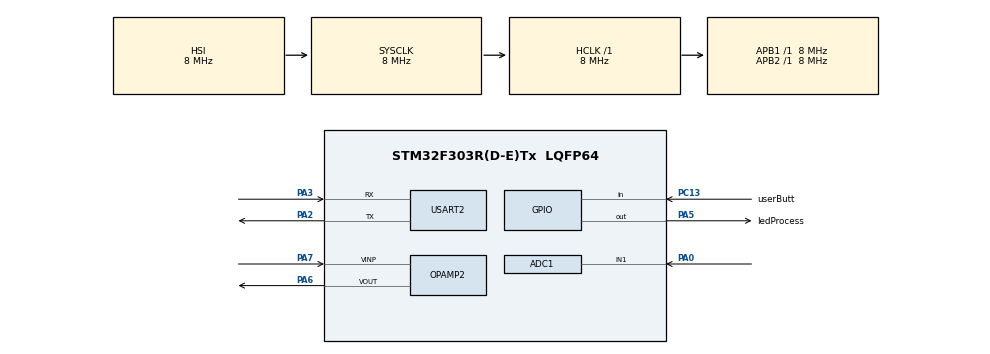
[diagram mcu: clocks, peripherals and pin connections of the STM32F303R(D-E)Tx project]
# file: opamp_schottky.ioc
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ADC1.Channel-2\#ChannelRegularConversion=ADC_CHANNEL_1
ADC1.ContinuousConvMode=ENABLE
ADC1.NbrOfConversionFlag=1
ADC1.Offset-2\#ChannelRegularConversion=0
ADC1.OffsetNumber-2\#ChannelRegularConversion=ADC_OFFSET_NONE
ADC1.Rank-2\#ChannelRegularConversion=1
ADC1.SamplingTime-2\#ChannelRegularConversion=ADC_SAMPLETIME_601CYCLES_5
ADC1.SamplingTimeOPAMP-2\#ChannelRegularConversion=ADC_SAMPLETIME_7CYCLES_5
ADC1.master=1
ADC2.Channel-0\#ChannelRegularConversion=ADC_CHANNEL_3
ADC2.ContinuousConvMode=ENABLE
ADC2.NbrOfConversionFlag=1
ADC2.Offset-0\#ChannelRegularConversion=0
ADC2.OffsetNumber-0\#ChannelRegularConversion=ADC_OFFSET_NONE
ADC2.Rank-0\#ChannelRegularConversion=1
ADC2.SamplingTime-0\#ChannelRegularConversion=ADC_SAMPLETIME_7CYCLES_5
Mcu.Family=STM32F3
Mcu.Name=STM32F303R(D-E)Tx
Mcu.Package=LQFP64
NVIC.PriorityGroup=NVIC_PRIORITYGROUP_4
PA0.Mode=IN1-Single-Ended
PA0.Signal=ADC1_IN1
PA13.Mode=Serial_Wire
PA13.Signal=SYS_JTMS-SWDIO
PA14.Mode=Serial_Wire
PA14.Signal=SYS_JTCK-SWCLK
PA2.Mode=Asynchronous
PA2.Signal=USART2_TX
PA3.Mode=Asynchronous
PA3.Signal=USART2_RX
PA5.GPIO_Label=ledProcess
PA5.Signal=GPIO_Output
PA6.Signal=SharedAnalog_PA6
PA7.Mode=PGA Not Connected
PA7.Signal=OPAMP2_VINP
PC13.GPIO_Label=userButt
PC13.Signal=GPIO_Input
ProjectManager.HeapSize=0x200
ProjectManager.StackSize=0x400
ProjectManager.TargetToolchain=STM32CubeIDE
RCC.AHBFreq_Value=8000000
RCC.APB1Freq_Value=8000000
RCC.APB2Freq_Value=8000000
RCC.CortexFreq_Value=8000000
RCC.HSE_VALUE=8000000
RCC.HSI_VALUE=8000000
RCC.LSE_VALUE=32768
RCC.SYSCLKFreq_VALUE=8000000
RCC.USBFreq_Value=16000000
SH.SharedAnalog_PA6.0=ADC2_IN3
SH.SharedAnalog_PA6.1=OPAMP2_VOUT,PGA Not Connected
USART2.VirtualMode-Asynchronous=VM_ASYNC
VP_ADC2_OPAMP_OUT2.Mode=IN3-OPAMP2-Single-Ended
board=custom

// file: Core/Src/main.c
/* USER CODE BEGIN Header */
/**
  ******************************************************************************
  * @file           : main.c
  * @brief          : Main program body
  ******************************************************************************
  * @attention
  *
  * Copyright (c) 2022 STMicroelectronics.
  * All rights reserved.
  *
  * This software is licensed under terms that can be found in the LICENSE file
  * in the root directory of this software component.
  * If no LICENSE file comes with this software, it is provided AS-IS.
  *
  ******************************************************************************
  */
/* USER CODE END Header */
#include "main.h"

/* USER CODE BEGIN Includes */
#include "string.h"
#include "stdio.h"
/* USER CODE END Includes */

ADC_HandleTypeDef hadc1;
ADC_HandleTypeDef hadc2;

OPAMP_HandleTypeDef hopamp2;

UART_HandleTypeDef huart2;

/* USER CODE BEGIN PV */
static float sysVal;
static float bitRess;

/* USER CODE END PV */

void SystemClock_Config(void);
static void MX_GPIO_Init(void);
static void MX_USART2_UART_Init(void);
static void MX_ADC1_Init(void);
static void MX_ADC2_Init(void);
static void MX_OPAMP2_Init(void);

/* USER CODE BEGIN 0 */

static void uGain_change(uint8_t newGain) {
	switch(newGain) {
	case 2:
		hopamp2.Init.PgaGain = OPAMP_PGA_GAIN_2;
		break;
	case 4:
		hopamp2.Init.PgaGain = OPAMP_PGA_GAIN_4;
		break;
	case 8:
		hopamp2.Init.PgaGain = OPAMP_PGA_GAIN_8;
		break;
	case 16:
		hopamp2.Init.PgaGain = OPAMP_PGA_GAIN_16;
		break;
	default:
		hopamp2.Init.PgaGain = OPAMP_PGA_GAIN_2;

		break;
	}

	hopamp2.Init.UserTrimming = OPAMP_TRIMMING_FACTORY;
	if (HAL_OPAMP_Init(&hopamp2) != HAL_OK)
	{
	Error_Handler();
	}

}

int __io_putchar(int ch) {
	HAL_UART_Transmit(&huart2, (uint8_t*)&ch, 1, HAL_MAX_DELAY);
	return 1;
}

/* USER CODE END 0 */

int main(void)
{

  /* MCU Configuration--------------------------------------------------------*/

  /* Reset of all peripherals, Initializes the Flash interface and the Systick. */
  HAL_Init();

  /* Configure the system clock */
  SystemClock_Config();

  /* Initialize all configured peripherals */
  MX_GPIO_Init();
  MX_USART2_UART_Init();
  MX_ADC1_Init();
  MX_ADC2_Init();
  MX_OPAMP2_Init();
  /* USER CODE BEGIN 2 */

  HAL_ADCEx_Calibration_Start(&hadc1, HAL_MAX_DELAY);
  HAL_ADC_Start(&hadc1);

  HAL_ADCEx_Calibration_Start(&hadc2, ADC_SINGLE_ENDED);
  HAL_ADC_Start(&hadc2);

  HAL_OPAMP_SelfCalibrate(&hopamp2);
  HAL_OPAMP_Start(&hopamp2);

  bitRess = 4096.0f;
  sysVal = 3.30f;

  uint16_t cnt = 1;
  /* USER CODE END 2 */

  /* Infinite loop */
  /* USER CODE BEGIN WHILE */
  while (1)
  {
	  if(HAL_GPIO_ReadPin(userButt_GPIO_Port, userButt_Pin) == GPIO_PIN_RESET) {

		  HAL_GPIO_WritePin(ledProcess_GPIO_Port, ledProcess_Pin, GPIO_PIN_SET);
		  uGain_change(4);

	  } else {
		  HAL_GPIO_WritePin(ledProcess_GPIO_Port, ledProcess_Pin, GPIO_PIN_RESET);
	  }

	  //adc pA_0
	  HAL_ADC_Start(&hadc1);
	  HAL_ADC_PollForConversion(&hadc1, HAL_MAX_DELAY);
	  uint32_t adcVal = HAL_ADC_GetValue(&hadc1);
	  float basicVolt = adcVal * sysVal / bitRess;

	  //Gain depends on readings
	  if(adcVal < 256) {
		  uGain_change(16);
	  }
	  else if(adcVal >= 256 && adcVal < 512) {
		  uGain_change(8);
	  }
	  else if(adcVal >= 512 && adcVal < 1024) {
		  uGain_change(4);
	  }
	  else if(adcVal >= 1024) {
		  uGain_change(2);
	  }

	  //opamp pA_7
	  uint32_t opVal = HAL_ADC_GetValue(&hadc2);
	  float opVolt =   opVal * sysVal / bitRess;

	  printf("\r\n Pomiar %u \r\n", cnt);
	  printf("Opamp: %.3f V (%lu) \r\n",opVolt,  opVal);
	  printf("Basic: %.3f V (%lu) \r\n",basicVolt, adcVal);
	  cnt++;
	  HAL_Delay(100);
    /* USER CODE END WHILE */

  }
}

void SystemClock_Config(void)
{
  RCC_OscInitTypeDef RCC_OscInitStruct = {0};
  RCC_ClkInitTypeDef RCC_ClkInitStruct = {0};
  RCC_PeriphCLKInitTypeDef PeriphClkInit = {0};

  /** Initializes the RCC Oscillators according to the specified parameters
  * in the RCC_OscInitTypeDef structure.
  */
  RCC_OscInitStruct.OscillatorType = RCC_OSCILLATORTYPE_HSI;
  RCC_OscInitStruct.HSIState = RCC_HSI_ON;
  RCC_OscInitStruct.HSICalibrationValue = RCC_HSICALIBRATION_DEFAULT;
  RCC_OscInitStruct.PLL.PLLState = RCC_PLL_ON;
  RCC_OscInitStruct.PLL.PLLSource = RCC_PLLSOURCE_HSI;
  RCC_OscInitStruct.PLL.PLLMUL = RCC_PLL_MUL2;
  RCC_OscInitStruct.PLL.PREDIV = RCC_PREDIV_DIV1;
  if (HAL_RCC_OscConfig(&RCC_OscInitStruct) != HAL_OK)
  {
    Error_Handler();
  }

  /** Initializes the CPU, AHB and APB buses clocks
  */
  RCC_ClkInitStruct.ClockType = RCC_CLOCKTYPE_HCLK|RCC_CLOCKTYPE_SYSCLK
                              |RCC_CLOCKTYPE_PCLK1|RCC_CLOCKTYPE_PCLK2;
  RCC_ClkInitStruct.SYSCLKSource = RCC_SYSCLKSOURCE_HSI;
  RCC_ClkInitStruct.AHBCLKDivider = RCC_SYSCLK_DIV1;
  RCC_ClkInitStruct.APB1CLKDivider = RCC_HCLK_DIV1;
  RCC_ClkInitStruct.APB2CLKDivider = RCC_HCLK_DIV1;

  if (HAL_RCC_ClockConfig(&RCC_ClkInitStruct, FLASH_LATENCY_0) != HAL_OK)
  {
    Error_Handler();
  }
  PeriphClkInit.PeriphClockSelection = RCC_PERIPHCLK_USART2|RCC_PERIPHCLK_ADC12;
  PeriphClkInit.Usart2ClockSelection = RCC_USART2CLKSOURCE_PCLK1;
  PeriphClkInit.Adc12ClockSelection = RCC_ADC12PLLCLK_DIV1;
  if (HAL_RCCEx_PeriphCLKConfig(&PeriphClkInit) != HAL_OK)
  {
    Error_Handler();
  }
}

static void MX_ADC1_Init(void)
{

  ADC_MultiModeTypeDef multimode = {0};
  ADC_ChannelConfTypeDef sConfig = {0};

  /** Common config
  */
  hadc1.Instance = ADC1;
  hadc1.Init.ClockPrescaler = ADC_CLOCK_ASYNC_DIV1;
  hadc1.Init.Resolution = ADC_RESOLUTION_12B;
  hadc1.Init.ScanConvMode = ADC_SCAN_DISABLE;
  hadc1.Init.ContinuousConvMode = ENABLE;
  hadc1.Init.DiscontinuousConvMode = DISABLE;
  hadc1.Init.ExternalTrigConvEdge = ADC_EXTERNALTRIGCONVEDGE_NONE;
  hadc1.Init.ExternalTrigConv = ADC_SOFTWARE_START;
  hadc1.Init.DataAlign = ADC_DATAALIGN_RIGHT;
  hadc1.Init.NbrOfConversion = 1;
  hadc1.Init.DMAContinuousRequests = DISABLE;
  hadc1.Init.EOCSelection = ADC_EOC_SINGLE_CONV;
  hadc1.Init.LowPowerAutoWait = DISABLE;
  hadc1.Init.Overrun = ADC_OVR_DATA_OVERWRITTEN;
  if (HAL_ADC_Init(&hadc1) != HAL_OK)
  {
    Error_Handler();
  }

  /** Configure the ADC multi-mode
  */
  multimode.Mode = ADC_MODE_INDEPENDENT;
  if (HAL_ADCEx_MultiModeConfigChannel(&hadc1, &multimode) != HAL_OK)
  {
    Error_Handler();
  }

  /** Configure Regular Channel
  */
  sConfig.Channel = ADC_CHANNEL_1;
  sConfig.Rank = ADC_REGULAR_RANK_1;
  sConfig.SingleDiff = ADC_SINGLE_ENDED;
  sConfig.SamplingTime = ADC_SAMPLETIME_601CYCLES_5;
  sConfig.OffsetNumber = ADC_OFFSET_NONE;
  sConfig.Offset = 0;
  if (HAL_ADC_ConfigChannel(&hadc1, &sConfig) != HAL_OK)
  {
    Error_Handler();
  }

}

static void MX_ADC2_Init(void)
{

  ADC_ChannelConfTypeDef sConfig = {0};

  /** Common config
  */
  hadc2.Instance = ADC2;
  hadc2.Init.ClockPrescaler = ADC_CLOCK_ASYNC_DIV1;
  hadc2.Init.Resolution = ADC_RESOLUTION_12B;
  hadc2.Init.ScanConvMode = ADC_SCAN_DISABLE;
  hadc2.Init.ContinuousConvMode = ENABLE;
  hadc2.Init.DiscontinuousConvMode = DISABLE;
  hadc2.Init.ExternalTrigConvEdge = ADC_EXTERNALTRIGCONVEDGE_NONE;
  hadc2.Init.ExternalTrigConv = ADC_SOFTWARE_START;
  hadc2.Init.DataAlign = ADC_DATAALIGN_RIGHT;
  hadc2.Init.NbrOfConversion = 1;
  hadc2.Init.DMAContinuousRequests = DISABLE;
  hadc2.Init.EOCSelection = ADC_EOC_SINGLE_CONV;
  hadc2.Init.LowPowerAutoWait = DISABLE;
  hadc2.Init.Overrun = ADC_OVR_DATA_OVERWRITTEN;
  if (HAL_ADC_Init(&hadc2) != HAL_OK)
  {
    Error_Handler();
  }

  /** Configure Regular Channel
  */
  sConfig.Channel = ADC_CHANNEL_3;
  sConfig.Rank = ADC_REGULAR_RANK_1;
  sConfig.SingleDiff = ADC_SINGLE_ENDED;
  sConfig.SamplingTime = ADC_SAMPLETIME_7CYCLES_5;
  sConfig.OffsetNumber = ADC_OFFSET_NONE;
  sConfig.Offset = 0;
  if (HAL_ADC_ConfigChannel(&hadc2, &sConfig) != HAL_OK)
  {
    Error_Handler();
  }

}

static void MX_OPAMP2_Init(void)
{

  hopamp2.Instance = OPAMP2;
  hopamp2.Init.Mode = OPAMP_PGA_MODE;
  hopamp2.Init.NonInvertingInput = OPAMP_NONINVERTINGINPUT_IO0;
  hopamp2.Init.TimerControlledMuxmode = OPAMP_TIMERCONTROLLEDMUXMODE_DISABLE;
  hopamp2.Init.PgaConnect = OPAMP_PGA_CONNECT_INVERTINGINPUT_NO;
  hopamp2.Init.PgaGain = OPAMP_PGA_GAIN_2;
  hopamp2.Init.UserTrimming = OPAMP_TRIMMING_FACTORY;
  if (HAL_OPAMP_Init(&hopamp2) != HAL_OK)
  {
    Error_Handler();
  }

}

static void MX_USART2_UART_Init(void)
{

  huart2.Instance = USART2;
  huart2.Init.BaudRate = 38400;
  huart2.Init.WordLength = UART_WORDLENGTH_8B;
  huart2.Init.StopBits = UART_STOPBITS_1;
  huart2.Init.Parity = UART_PARITY_NONE;
  huart2.Init.Mode = UART_MODE_TX_RX;
  huart2.Init.HwFlowCtl = UART_HWCONTROL_NONE;
  huart2.Init.OverSampling = UART_OVERSAMPLING_16;
  huart2.Init.OneBitSampling = UART_ONE_BIT_SAMPLE_DISABLE;
  huart2.AdvancedInit.AdvFeatureInit = UART_ADVFEATURE_NO_INIT;
  if (HAL_UART_Init(&huart2) != HAL_OK)
  {
    Error_Handler();
  }

}

static void MX_GPIO_Init(void)
{
  GPIO_InitTypeDef GPIO_InitStruct = {0};

  /* GPIO Ports Clock Enable */
  __HAL_RCC_GPIOC_CLK_ENABLE();
  __HAL_RCC_GPIOA_CLK_ENABLE();

  /*Configure GPIO pin Output Level */
  HAL_GPIO_WritePin(ledProcess_GPIO_Port, ledProcess_Pin, GPIO_PIN_RESET);

  /*Configure GPIO pin : userButt_Pin */
  GPIO_InitStruct.Pin = userButt_Pin;
  GPIO_InitStruct.Mode = GPIO_MODE_INPUT;
  GPIO_InitStruct.Pull = GPIO_NOPULL;
  HAL_GPIO_Init(userButt_GPIO_Port, &GPIO_InitStruct);

  /*Configure GPIO pin : ledProcess_Pin */
  GPIO_InitStruct.Pin = ledProcess_Pin;
  GPIO_InitStruct.Mode = GPIO_MODE_OUTPUT_PP;
  GPIO_InitStruct.Pull = GPIO_NOPULL;
  GPIO_InitStruct.Speed = GPIO_SPEED_FREQ_LOW;
  HAL_GPIO_Init(ledProcess_GPIO_Port, &GPIO_InitStruct);

}

void Error_Handler(void)
{
  __disable_irq();
  while (1)
  {
  }
}
